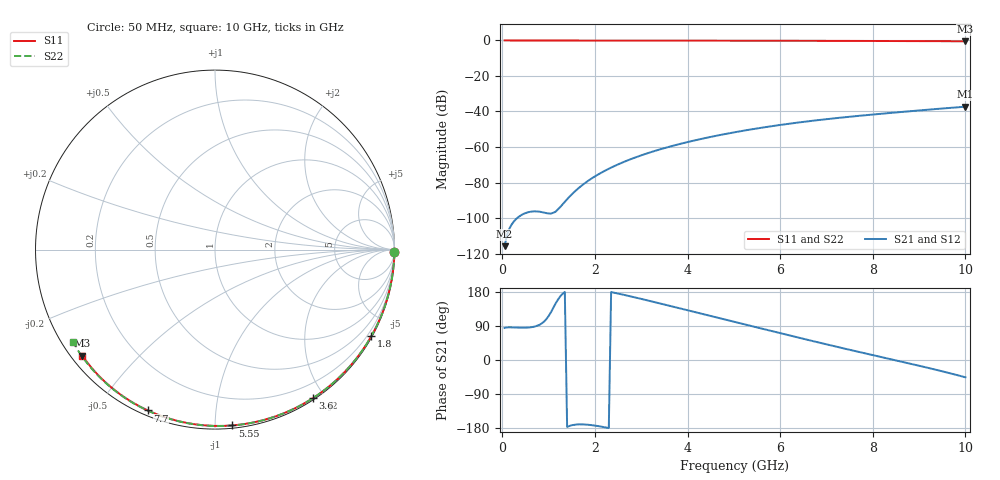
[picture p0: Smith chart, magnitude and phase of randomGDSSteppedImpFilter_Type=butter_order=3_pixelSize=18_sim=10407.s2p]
! freq	dB(S11)	phase(S11)	dB(S12)	phase(S12)
!  dB(S21)	phase(S21)	dB(S22)	phase(S22)
!S-par simulation data
#  GHz  S  DB  R 50
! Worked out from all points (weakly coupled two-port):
!   200 points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, 50 MHz to 10 GHz, reference 50 ohm
!   highest |S21| = -37.31 dB at 10 GHz (marker M1); lowest = -115.9 dB at 50 MHz (marker M2)
!   lowest |S11| = -0.5 dB at 10 GHz (marker M3), VSWR 36.39, Z = 1.54 - j17.5 ohm
!   |S11| at or under -10 dB: nowhere
!   |S22| runs from -0.5 to 0.0 dB; largest |S21 - S12| = 0
!   S11 on the Smith chart (normalised r, x): 50 MHz: open; 1.8 GHz: 0.03, -3.87; 3.6 GHz: 0.02, -1.86; 5.55 GHz: 0.02, -1.10; 7.7 GHz: 0.02, -0.67; 10 GHz: 0.03, -0.35
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0.05  -0.00 -0.8  -115.85 84.6  -115.85 84.6  -0.00 -0.9
0.45  -0.01 -7.3  -97.78 85.2  -97.78 85.2  -0.01 -7.7
0.9  -0.02 -14.6  -96.93 101.1  -96.93 101.1  -0.02 -15.3
1.3  -0.03 -21.1  -92.36 174.5  -92.36 174.5  -0.03 -22.0
1.75  -0.04 -28.2  -81.01 -170.0  -81.01 -170.0  -0.04 -29.4
1.8  -0.04 -29.0  -80.03 -170.3  -80.03 -170.3  -0.04 -30.3
1.95  -0.04 -31.4  -77.37 -172.2  -77.37 -172.2  -0.04 -32.7
2.15  -0.04 -34.5  -74.29 -176.1  -74.29 -176.1  -0.05 -36.0
2.5  -0.05 -40.0  -69.80 175.4  -69.80 175.4  -0.05 -41.7
2.9  -0.06 -46.1  -65.62 164.2  -65.62 164.2  -0.06 -48.1
3.4  -0.07 -53.6  -61.37 149.4  -61.37 149.4  -0.07 -55.9
3.6  -0.08 -56.6  -59.89 143.4  -59.89 143.4  -0.08 -59.0
3.9  -0.08 -61.1  -57.86 134.3  -57.86 134.3  -0.09 -63.6
4.3  -0.09 -66.9  -55.43 122.2  -55.43 122.2  -0.10 -69.6
5.05  -0.12 -77.5  -51.54 99.6  -51.54 99.6  -0.12 -80.7
5.55  -0.14 -84.4  -49.34 84.5  -49.34 84.5  -0.14 -87.8
6.1  -0.16 -91.9  -47.22 67.9  -47.22 67.9  -0.17 -95.5
6.7  -0.19 -99.8  -45.22 50.1  -45.22 50.1  -0.20 -103.8
7.7  -0.25 -112.7  -42.45 21.3  -42.45 21.3  -0.27 -117.1
8.35  -0.30 -120.9  -40.89 3.1  -40.89 3.1  -0.32 -125.6
9.2  -0.38 -131.4  -38.97 -20.9  -38.97 -20.9  -0.41 -136.6
10  -0.48 -141.3  -37.31 -45.6  -37.31 -45.6  -0.49 -146.9
